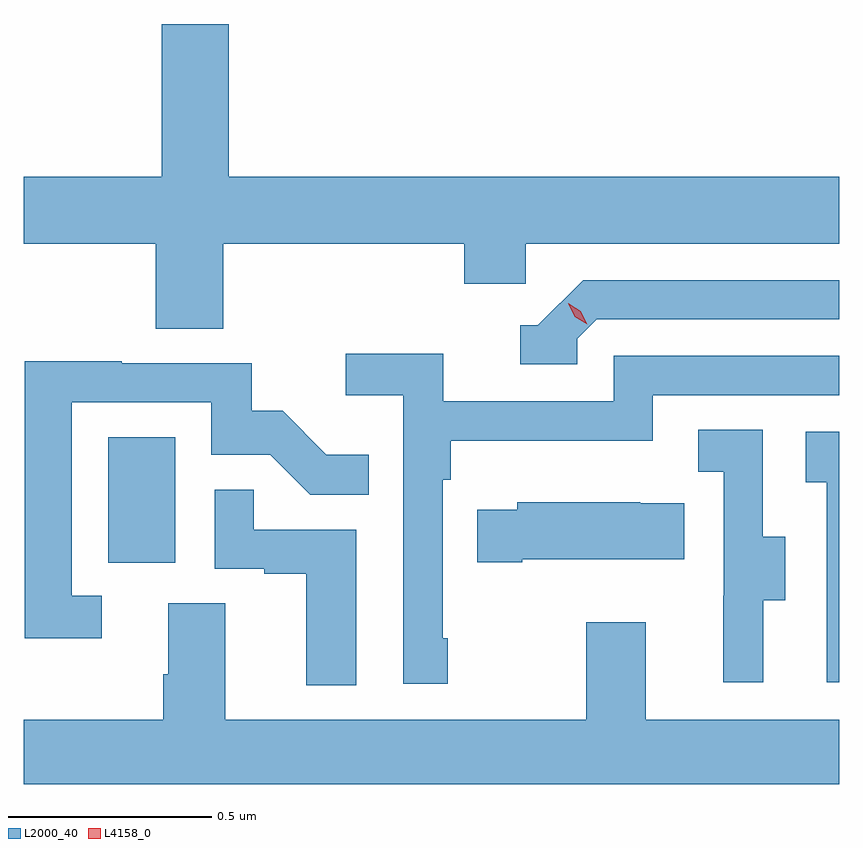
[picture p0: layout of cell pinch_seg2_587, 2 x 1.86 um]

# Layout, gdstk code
import gdstk
lib = gdstk.Library(unit=1e-6, precision=1e-09)
def R(c, l, rs):  # rectangles x0, y0, x1, y1
    for r in rs: c.add(gdstk.rectangle(r[:2], r[2:], *l))
def P(c, l, *ps):  # polygons
    for p in ps: c.add(gdstk.Polygon(p, *l))
L2000_40 = (2000, 40)
L4158_0 = (4158, 0)

pinch_seg2_587 = lib.new_cell('pinch_seg2_587')
R(pinch_seg2_587, L2000_40, [(1141.898,622.878,1142.062,623.185)])
P(pinch_seg2_587, L2000_40, [(1142.18,623.66),(1142.771,623.66),(1142.771,623.562),(1142.922,623.562),(1142.922,623.66),(1143.691,623.66),(1143.691,623.824),(1142.194,623.824),(1142.194,624.199),(1142.03,624.199),(1142.03,623.824),(1141.691,623.824),(1141.691,623.66),(1142.015,623.66),(1142.015,623.452),(1142.18,623.452)],
  [(1143.048,623.427),(1143.096,623.475),(1143.691,623.475),(1143.691,623.571),(1143.063,623.571),(1142.952,623.46),(1142.909,623.46),(1142.909,623.364),(1143.048,623.364)],
  [(1142.731,622.693),(1142.718,622.693),(1142.718,623.081),(1142.738,623.081),(1142.738,623.177),(1143.234,623.177),(1143.234,623.289),(1143.691,623.289),(1143.691,623.385),(1143.138,623.385),(1143.138,623.274),(1142.72,623.274),(1142.72,623.39),(1142.481,623.39),(1142.481,623.288),(1142.622,623.288),(1142.622,622.581),(1142.731,622.581)],
  [(1141.882,622.797),(1141.809,622.797),(1141.809,623.271),(1142.151,623.271),(1142.151,623.142),(1142.296,623.142),(1142.394,623.044),(1142.537,623.044),(1142.537,623.143),(1142.433,623.143),(1142.326,623.25),(1142.25,623.25),(1142.25,623.367),(1141.931,623.367),(1141.931,623.372),(1141.693,623.372),(1141.693,622.692),(1141.882,622.692)],
  [(1143.505,622.786),(1143.559,622.786),(1143.559,622.941),(1143.504,622.941),(1143.504,623.204),(1143.345,623.204),(1143.345,623.101),(1143.408,623.101),(1143.408,622.797),(1143.407,622.797),(1143.407,622.584),(1143.505,622.584)],
  [(1143.691,623.199),(1143.609,623.199),(1143.609,623.075),(1143.66,623.075),(1143.66,622.584),(1143.691,622.584)],
  [(1142.506,622.959),(1142.255,622.959),(1142.255,623.057),(1142.16,623.057),(1142.16,622.863),(1142.281,622.863),(1142.281,622.851),(1142.384,622.851),(1142.384,622.577),(1142.506,622.577)],
  [(1142.914,622.886),(1143.311,622.886),(1143.311,623.023),(1143.203,623.023),(1143.203,623.026),(1142.901,623.026),(1142.901,623.008),(1142.803,623.008),(1142.803,622.879),(1142.914,622.879)],
  [(1143.691,622.492),(1143.217,622.492),(1143.217,622.732),(1143.07,622.732),(1143.07,622.492),(1142.185,622.492),(1142.185,622.778),(1142.045,622.778),(1142.045,622.604),(1142.033,622.604),(1142.033,622.492),(1141.691,622.492),(1141.691,622.335),(1143.691,622.335)])
P(pinch_seg2_587, L4158_0, [(1143.073,623.462),(1143.042,623.481),(1143.026,623.514),(1143.026,623.514),(1143.026,623.514),(1143.057,623.495),(1143.073,623.462),(1143.073,623.462)])

lib.write_gds('pinch_seg2_587.gds')
